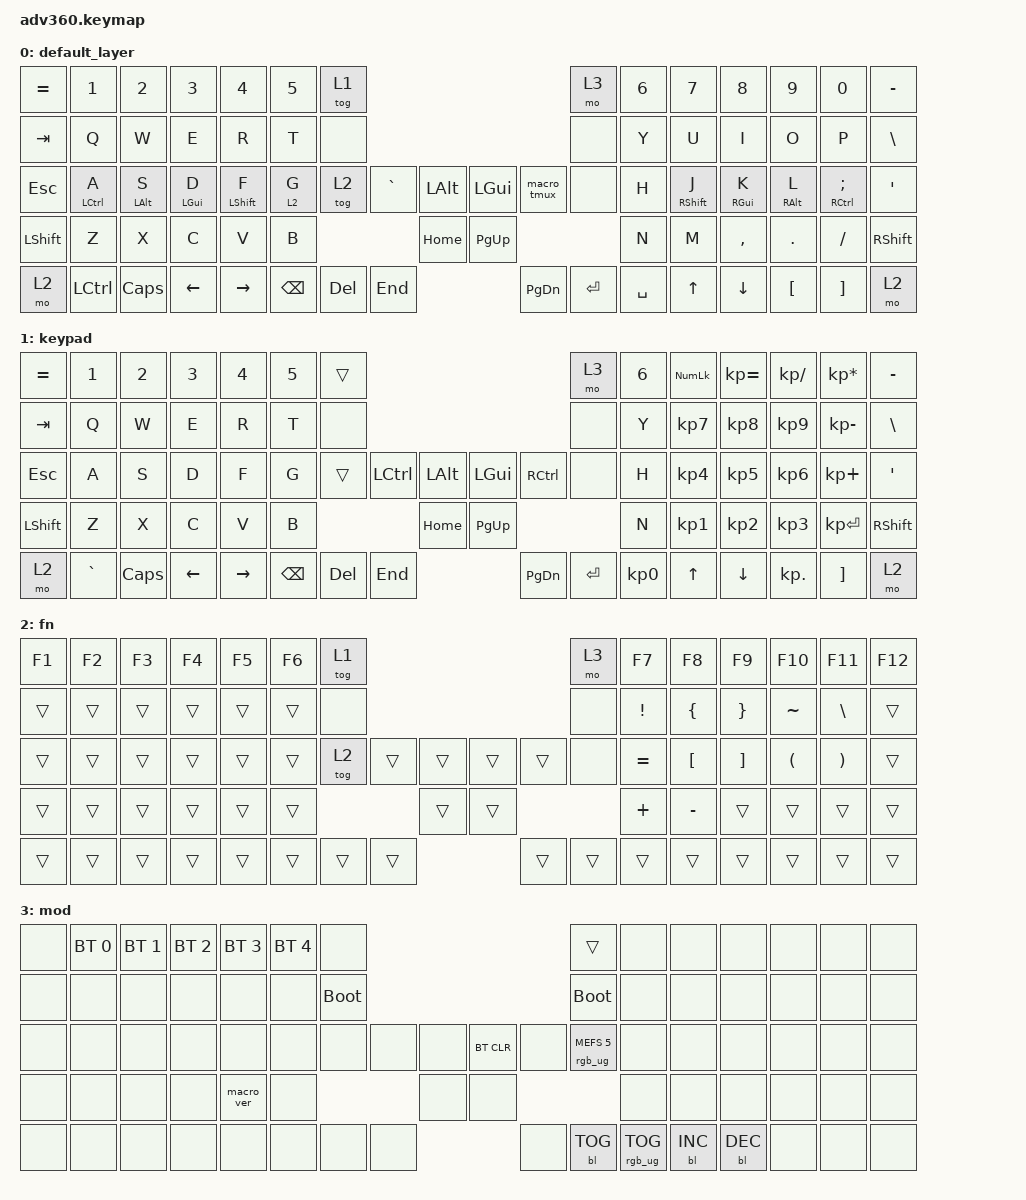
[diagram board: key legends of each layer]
#include <behaviors.dtsi>
#include <dt-bindings/zmk/keys.h>
#include <dt-bindings/zmk/bt.h>
#include <dt-bindings/zmk/rgb.h>
#include <dt-bindings/zmk/backlight.h>
#include "adv360_keypos.h"

#define KEYS_L LT0 LT1 LT2 LT3 LT4 LM0 LM1 LM2 LM3 LM4 LB0 LB1 LB2 LB3 LB4  // left hand
#define KEYS_R RT0 RT1 RT2 RT3 RT4 RM0 RM1 RM2 RM3 RM4 RB0 RB1 RB2 RB3 RB4  // right hand
#define THUMBS LH2 LH1 LH0 RH0 RH1 RH2                                     // thumbs


/ {
    behaviors {
      #include "macros.dtsi"
      #include "version.dtsi"
      #ifndef VERSION_MACRO
      macro_ver: macro_ver {
        compatible = "zmk,behavior-macro";
        label = "macro_version";
        #binding-cells = <0>;
        bindings = <&kp RET>;
      };
      #endif

      hm: homerow_mods {
          compatible = "zmk,behavior-hold-tap";
          label = "HOMEROW_MODS";
          #binding-cells = <2>;
          tapping-term-ms = <200>;
          quick_tap_ms = <125>;
          flavor = "tap-preferred";
          require-prior-idle-ms = <125>;
          bindings = <&kp>, <&kp>;
      };

      hml: homerow_mods_l {
          compatible = "zmk,behavior-hold-tap";
          label = "HOMEROW_MODS_L";
          #binding-cells = <2>;
          tapping-term-ms = <200>;
          quick-tap-ms = <125>;
          flavor = "balanced";
          require-prior-idle-ms = <125>;
          bindings = <&kp>, <&kp>;
          hold-trigger-key-positions= <KEYS_R THUMBS>;
          hold-trigger-on-release;
      };

      hmr: homerow_mods_r {
          compatible = "zmk,behavior-hold-tap";
          label = "HOMEROW_MODS_R";
          #binding-cells = <2>;
          tapping-term-ms = <200>;
          quick-tap-ms = <125>;
          flavor = "balanced";
          require-prior-idle-ms = <125>;
          bindings = <&kp>, <&kp>;
          hold-trigger-key-positions= <KEYS_L THUMBS>;
          hold-trigger-on-release;
      };
    };

  keymap {
    compatible = "zmk,keymap";

    default_layer {
      bindings = <
        &kp EQUAL &kp N1      &kp N2      &kp N3      &kp N4        &kp N5 &tog 1                                                           &mo 3  &kp N6 &kp N7      &kp N8        &kp N9        &kp N0          &kp MINUS
        &kp TAB   &kp Q       &kp W       &kp E       &kp R         &kp T  &none                                                            &none  &kp Y  &kp U       &kp I         &kp O         &kp P           &kp BSLH
        &kp ESC   &hml LCTRL A &hml LALT S  &hml LGUI D  &hml LSHFT F   &lt 2 G &tog 2         &kp GRAVE &kp LALT  &kp LGUI  &macro_tmux        &none  &kp H  &hmr RSHFT J &hmr RGUI K    &hmr RALT L    &hmr RCTRL SEMI  &kp SQT
        &kp LSHFT &kp Z       &kp X       &kp C       &kp V         &kp B                            &kp HOME  &kp PG_UP                           &kp N  &kp M       &kp COMMA     &kp DOT       &kp FSLH        &kp RSHFT
        &mo 2     &kp LCTRL   &kp CAPS    &kp LEFT    &kp RIGHT                &kp BSPC &kp DEL   &kp END   &kp PG_DN  &kp ENTER &kp SPACE             &kp UP         &kp DOWN      &kp LBKT      &kp RBKT        &mo 2
      >;
    };
    keypad {
      bindings = <
        &kp EQUAL &kp N1    &kp N2   &kp N3   &kp N4     &kp N5 &trans                                                           &mo 3 &kp N6 &kp KP_NUM &kp KP_EQUAL &kp KP_DIVIDE &kp KP_MULTIPLY &kp MINUS
        &kp TAB   &kp Q     &kp W    &kp E    &kp R      &kp T  &none                                                            &none &kp Y  &kp KP_N7  &kp KP_N8    &kp KP_N9     &kp KP_MINUS    &kp BSLH
        &kp ESC   &kp A     &kp S    &kp D    &kp F      &kp G  &trans          &kp LCTRL &kp LALT &kp LGUI  &kp RCTRL           &none &kp H  &kp KP_N4  &kp KP_N5    &kp KP_N6     &kp KP_PLUS     &kp SQT
        &kp LSHFT &kp Z     &kp X    &kp C    &kp V      &kp B                            &kp HOME &kp PG_UP                           &kp N  &kp KP_N1  &kp KP_N2    &kp KP_N3     &kp KP_ENTER    &kp RSHFT
        &mo 2     &kp GRAVE &kp CAPS &kp LEFT &kp RIGHT                &kp BSPC &kp DEL   &kp END  &kp PG_DN &kp ENTER &kp KP_N0              &kp UP     &kp DOWN     &kp KP_DOT    &kp RBKT        &mo 2
      >;
    };
    fn {
      bindings = <
        &kp F1 &kp F2 &kp F3 &kp F4 &kp F5 &kp F6 &tog 1                                           &mo 3 &kp F7 &kp F8 &kp F9 &kp F10 &kp F11 &kp F12
        &trans &trans &trans &trans &trans &trans  &none                                           &none &kp EXCL &kp LBRC  &kp RBRC &kp TILDE  &kp BSLH  &trans
        &trans &trans &trans &trans &trans &trans  &tog 2       &trans &trans &trans &trans        &none &kp EQUAL &kp LBKT  &kp RBKT  &kp LPAR &kp RPAR  &trans
        &trans &trans &trans &trans &trans &trans                      &trans &trans                     &kp PLUS &kp MINUS &trans &trans  &trans  &trans
        &trans &trans &trans &trans &trans               &trans &trans &trans &trans &trans &trans              &trans &trans &trans  &trans  &trans
      >;
    };
    mod {
      bindings = <
        &none &bt BT_SEL 0 &bt BT_SEL 1 &bt BT_SEL 2 &bt BT_SEL 3 &bt BT_SEL 4 &none                                                                     &trans                 &none        &none        &none        &none &none &none
        &none &none        &none        &none        &none        &none        &bootloader                                                               &bootloader            &none        &none        &none        &none &none &none
        &none &none        &none        &none        &none        &none        &none                   &none &none &bt BT_CLR &none                      &rgb_ug RGB_MEFS_CMD 5 &none        &none        &none        &none &none &none
        &none &none        &none        &none        &macro_ver   &none                                      &none &none                                                        &none        &none        &none        &none &none &none
        &none &none        &none        &none        &none                                       &none &none &none &none      &bl BL_TOG &rgb_ug RGB_TOG                                     &bl BL_INC   &bl BL_DEC   &none &none &none
      >;
    };
  };
};
